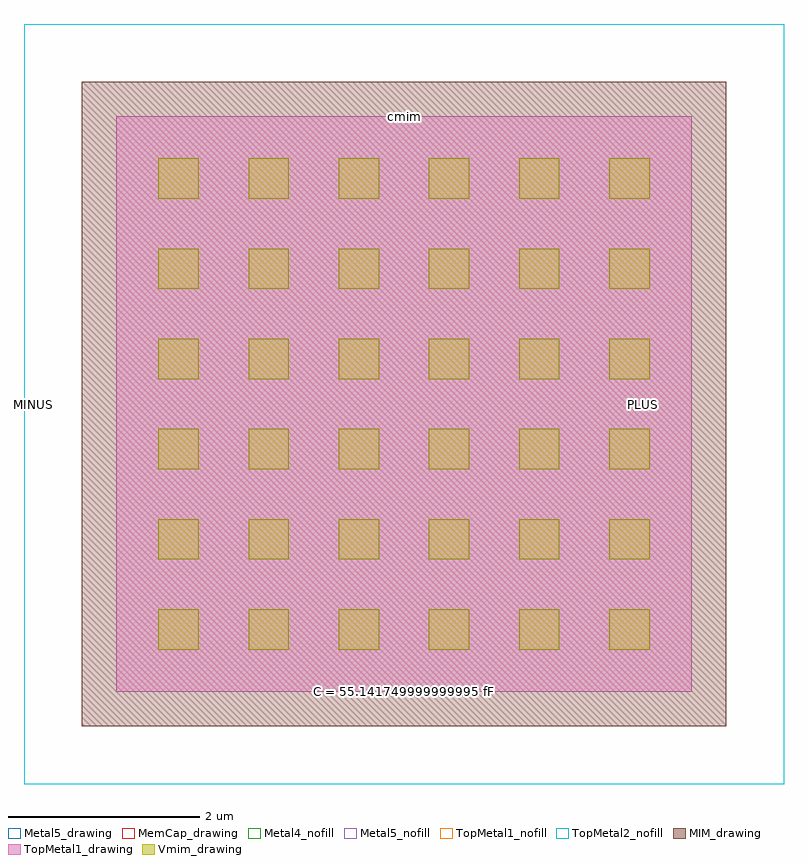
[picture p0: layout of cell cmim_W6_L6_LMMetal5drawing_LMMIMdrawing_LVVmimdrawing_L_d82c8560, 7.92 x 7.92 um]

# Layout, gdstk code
import gdstk
lib = gdstk.Library(unit=1e-6, precision=1e-09)
def R(c, l, rs):  # rectangles x0, y0, x1, y1
    for r in rs: c.add(gdstk.rectangle(r[:2], r[2:], *l))
MIM_drawing = (36, 0)
Metal4_nofill = (50, 23)
Metal5_drawing = (67, 0)
Metal5_nofill = (67, 23)
MemCap_drawing = (69, 0)
TopMetal1_drawing = (126, 0)
TopMetal1_nofill = (126, 23)
Vmim_drawing = (129, 0)
TopMetal2_nofill = (134, 23)

rectangle_gdsfactorypcom = lib.new_cell('rectangle_gdsfactorypcomponentspshapesprectangle_S7p92__2f53f460')
R(rectangle_gdsfactorypcom, Metal5_drawing, [(-3.96,-3.96,3.96,3.96)])

c_rectangle_gdsfactorypcom = lib.new_cell('rectangle_gdsfactorypcomponentspshapesprectangle_S6p72__84c52099')
R(c_rectangle_gdsfactorypcom, MIM_drawing, [(-3.36,-3.36,3.36,3.36)])

c_rectangle_gdsfactorypcom_ = lib.new_cell('rectangle_gdsfactorypcomponentspshapesprectangle_S6_6_L_617c6e3a')
R(c_rectangle_gdsfactorypcom_, TopMetal1_drawing, [(-3,-3,3,3)])

c_rectangle_gdsfactorypcom__ = lib.new_cell('rectangle_gdsfactorypcomponentspshapesprectangle_S0p42__b20b6c6c')
R(c_rectangle_gdsfactorypcom__, Vmim_drawing, [(0,0,0.42,0.42)])

via_array_vtvmim_c6_r6_v = lib.new_cell('via_array_VTVmim_C6_R6_VS0p42_VS0p94_VE0p42_LCContdrawi_f9908038')
via_array_vtvmim_c6_r6_v.add(gdstk.Reference(c_rectangle_gdsfactorypcom__, (0,0)))
via_array_vtvmim_c6_r6_v.add(gdstk.Reference(c_rectangle_gdsfactorypcom__, (0,0.94)))
via_array_vtvmim_c6_r6_v.add(gdstk.Reference(c_rectangle_gdsfactorypcom__, (0,1.88)))
via_array_vtvmim_c6_r6_v.add(gdstk.Reference(c_rectangle_gdsfactorypcom__, (0,2.82)))
via_array_vtvmim_c6_r6_v.add(gdstk.Reference(c_rectangle_gdsfactorypcom__, (0,3.76)))
via_array_vtvmim_c6_r6_v.add(gdstk.Reference(c_rectangle_gdsfactorypcom__, (0,4.7)))
via_array_vtvmim_c6_r6_v.add(gdstk.Reference(c_rectangle_gdsfactorypcom__, (0.94,0)))
via_array_vtvmim_c6_r6_v.add(gdstk.Reference(c_rectangle_gdsfactorypcom__, (0.94,0.94)))
via_array_vtvmim_c6_r6_v.add(gdstk.Reference(c_rectangle_gdsfactorypcom__, (0.94,1.88)))
via_array_vtvmim_c6_r6_v.add(gdstk.Reference(c_rectangle_gdsfactorypcom__, (0.94,2.82)))
via_array_vtvmim_c6_r6_v.add(gdstk.Reference(c_rectangle_gdsfactorypcom__, (0.94,3.76)))
via_array_vtvmim_c6_r6_v.add(gdstk.Reference(c_rectangle_gdsfactorypcom__, (0.94,4.7)))
via_array_vtvmim_c6_r6_v.add(gdstk.Reference(c_rectangle_gdsfactorypcom__, (1.88,0)))
via_array_vtvmim_c6_r6_v.add(gdstk.Reference(c_rectangle_gdsfactorypcom__, (1.88,0.94)))
via_array_vtvmim_c6_r6_v.add(gdstk.Reference(c_rectangle_gdsfactorypcom__, (1.88,1.88)))
via_array_vtvmim_c6_r6_v.add(gdstk.Reference(c_rectangle_gdsfactorypcom__, (1.88,2.82)))
via_array_vtvmim_c6_r6_v.add(gdstk.Reference(c_rectangle_gdsfactorypcom__, (1.88,3.76)))
via_array_vtvmim_c6_r6_v.add(gdstk.Reference(c_rectangle_gdsfactorypcom__, (1.88,4.7)))
via_array_vtvmim_c6_r6_v.add(gdstk.Reference(c_rectangle_gdsfactorypcom__, (2.82,0)))
via_array_vtvmim_c6_r6_v.add(gdstk.Reference(c_rectangle_gdsfactorypcom__, (2.82,0.94)))
via_array_vtvmim_c6_r6_v.add(gdstk.Reference(c_rectangle_gdsfactorypcom__, (2.82,1.88)))
via_array_vtvmim_c6_r6_v.add(gdstk.Reference(c_rectangle_gdsfactorypcom__, (2.82,2.82)))
via_array_vtvmim_c6_r6_v.add(gdstk.Reference(c_rectangle_gdsfactorypcom__, (2.82,3.76)))
via_array_vtvmim_c6_r6_v.add(gdstk.Reference(c_rectangle_gdsfactorypcom__, (2.82,4.7)))
via_array_vtvmim_c6_r6_v.add(gdstk.Reference(c_rectangle_gdsfactorypcom__, (3.76,0)))
via_array_vtvmim_c6_r6_v.add(gdstk.Reference(c_rectangle_gdsfactorypcom__, (3.76,0.94)))
via_array_vtvmim_c6_r6_v.add(gdstk.Reference(c_rectangle_gdsfactorypcom__, (3.76,1.88)))
via_array_vtvmim_c6_r6_v.add(gdstk.Reference(c_rectangle_gdsfactorypcom__, (3.76,2.82)))
via_array_vtvmim_c6_r6_v.add(gdstk.Reference(c_rectangle_gdsfactorypcom__, (3.76,3.76)))
via_array_vtvmim_c6_r6_v.add(gdstk.Reference(c_rectangle_gdsfactorypcom__, (3.76,4.7)))
via_array_vtvmim_c6_r6_v.add(gdstk.Reference(c_rectangle_gdsfactorypcom__, (4.7,0)))
via_array_vtvmim_c6_r6_v.add(gdstk.Reference(c_rectangle_gdsfactorypcom__, (4.7,0.94)))
via_array_vtvmim_c6_r6_v.add(gdstk.Reference(c_rectangle_gdsfactorypcom__, (4.7,1.88)))
via_array_vtvmim_c6_r6_v.add(gdstk.Reference(c_rectangle_gdsfactorypcom__, (4.7,2.82)))
via_array_vtvmim_c6_r6_v.add(gdstk.Reference(c_rectangle_gdsfactorypcom__, (4.7,3.76)))
via_array_vtvmim_c6_r6_v.add(gdstk.Reference(c_rectangle_gdsfactorypcom__, (4.7,4.7)))

c_rectangle_gdsfactorypcom___ = lib.new_cell('rectangle_gdsfactorypcomponentspshapesprectangle_S7p92__94a7ff8e')
R(c_rectangle_gdsfactorypcom___, MemCap_drawing, [(-3.96,-3.96,3.96,3.96)])

c_rectangle_gdsfactorypcom____ = lib.new_cell('rectangle_gdsfactorypcomponentspshapesprectangle_S7p92__140be9b3')
R(c_rectangle_gdsfactorypcom____, Metal4_nofill, [(-3.96,-3.96,3.96,3.96)])

c_rectangle_gdsfactorypcom_____ = lib.new_cell('rectangle_gdsfactorypcomponentspshapesprectangle_S7p92__4ea18f77')
R(c_rectangle_gdsfactorypcom_____, Metal5_nofill, [(-3.96,-3.96,3.96,3.96)])

c_rectangle_gdsfactorypcom______ = lib.new_cell('rectangle_gdsfactorypcomponentspshapesprectangle_S7p92__2ec7e15c')
R(c_rectangle_gdsfactorypcom______, TopMetal1_nofill, [(-3.96,-3.96,3.96,3.96)])

c_rectangle_gdsfactorypcom_______ = lib.new_cell('rectangle_gdsfactorypcomponentspshapesprectangle_S7p92__59f34193')
R(c_rectangle_gdsfactorypcom_______, TopMetal2_nofill, [(-3.96,-3.96,3.96,3.96)])

c_rectangle_gdsfactorypcom________ = lib.new_cell('rectangle_gdsfactorypcomponentspshapesprectangle_S1_2_L_73f10abb')
R(c_rectangle_gdsfactorypcom________, Metal5_drawing, [(-0.5,-1,0.5,1)])

c_rectangle_gdsfactorypcom_________ = lib.new_cell('rectangle_gdsfactorypcomponentspshapesprectangle_S1_2_L_d0fcfad7')
R(c_rectangle_gdsfactorypcom_________, TopMetal1_drawing, [(-0.5,-1,0.5,1)])

cmim_w6_l6_lmmetal5drawi = lib.new_cell('cmim_W6_L6_LMMetal5drawing_LMMIMdrawing_LVVmimdrawing_L_d82c8560')
cmim_w6_l6_lmmetal5drawi.add(gdstk.Reference(rectangle_gdsfactorypcom, (0,0)))
cmim_w6_l6_lmmetal5drawi.add(gdstk.Reference(c_rectangle_gdsfactorypcom, (0,0)))
cmim_w6_l6_lmmetal5drawi.add(gdstk.Reference(c_rectangle_gdsfactorypcom_, (0,0)))
cmim_w6_l6_lmmetal5drawi.add(gdstk.Reference(via_array_vtvmim_c6_r6_v, (-2.56,-2.56)))
cmim_w6_l6_lmmetal5drawi.add(gdstk.Reference(c_rectangle_gdsfactorypcom___, (0,0)))
cmim_w6_l6_lmmetal5drawi.add(gdstk.Reference(c_rectangle_gdsfactorypcom____, (0,0)))
cmim_w6_l6_lmmetal5drawi.add(gdstk.Reference(c_rectangle_gdsfactorypcom_____, (0,0)))
cmim_w6_l6_lmmetal5drawi.add(gdstk.Reference(c_rectangle_gdsfactorypcom______, (0,0)))
cmim_w6_l6_lmmetal5drawi.add(gdstk.Reference(c_rectangle_gdsfactorypcom_______, (0,0)))
cmim_w6_l6_lmmetal5drawi.add(gdstk.Reference(c_rectangle_gdsfactorypcom________, (-3.46,0)))
cmim_w6_l6_lmmetal5drawi.add(gdstk.Reference(c_rectangle_gdsfactorypcom_________, (2.5,0)))
cmim_w6_l6_lmmetal5drawi.add(gdstk.Label('PLUS', (2.5,0), layer=63, texttype=0))
cmim_w6_l6_lmmetal5drawi.add(gdstk.Label('MINUS', (-3.86,0), layer=63, texttype=0))
cmim_w6_l6_lmmetal5drawi.add(gdstk.Label('cmim', (0,3), layer=63, texttype=0))
cmim_w6_l6_lmmetal5drawi.add(gdstk.Label('C = 55.141749999999995 fF', (0,-3), layer=63, texttype=0))

lib.write_gds('cmim_W6_L6_LMMetal5drawing_LMMIMdrawing_LVVmimdrawing_L_d82c8560.gds')
